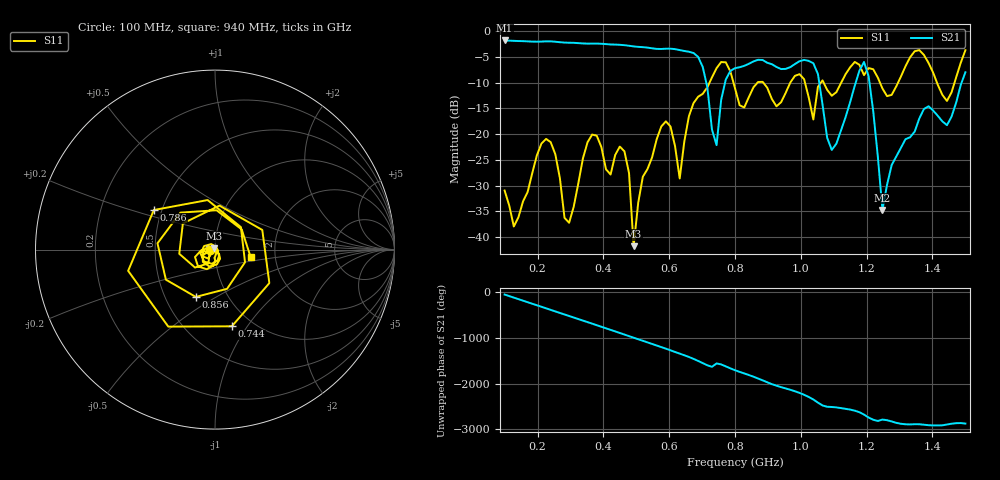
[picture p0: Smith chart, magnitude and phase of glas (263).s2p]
! NanoVNA-App
! Date: 2025-09-25 15:57:31
! Start: 100MHz Stop: 1,5GHz Points: 101
! S-Parameter data: F S11 S21 S12 S22
# Hz S RI R 50
!  Frequency  S11_Real  S11_Imag  S21_Real  S21_Imag  S12_Real  S12_Imag  S22_Real  S22_Imag
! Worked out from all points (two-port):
!   101 points, 100 MHz to 1.5 GHz, reference 50 ohm
!   highest |S21| = -1.80 dB at 100 MHz (marker M1); lowest = -34.7 dB at 1.248 GHz (marker M2)
!   |S21| within 3 dB of the highest: start of sweep to 684.4 MHz
!   lowest |S11| = -41.8 dB at 492 MHz (marker M3), VSWR 1.02, Z = 49.5 + j0.638 ohm
!   |S11| at or under -10 dB: start of sweep to 722.5 MHz; 795.3 MHz to 868.3 MHz (72.99 MHz wide, 8.77 % of centre); 886 MHz to 967.8 MHz (81.81 MHz wide, 8.83 % of centre) (the widest 3 of 7)
!   S12 and S22 are empty: the file has one direction only
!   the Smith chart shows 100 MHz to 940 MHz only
!   S11 on the Smith chart (normalised r, x): 100 MHz: 0.95, -0.01; 744 MHz: 0.81, -0.85; 786 MHz: 0.45, +0.24; 856 MHz: 0.71, -0.41; 940 MHz: 1.49, -0.14
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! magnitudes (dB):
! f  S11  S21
! 100 MHz  -30.9  -1.8
! 128 MHz  -37.9  -1.9
! 226 MHz  -20.9  -2.0
! 296 MHz  -37.2  -2.2
! 338 MHz  -24.7  -2.4
! 464 MHz  -23.3  -2.7
! 492 MHz  -41.8  -3.0
! 576 MHz  -18.5  -3.5
! 632 MHz  -28.6  -3.7
! 702 MHz  -12.2  -7.0
! 744 MHz  -7.2  -22.1
! 786 MHz  -7.8  -7.7
! 800 MHz  -11.1  -7.2
! 856 MHz  -10.9  -5.9
! 940 MHz  -13.8  -7.4
! 1.038 GHz  -17.2  -6.2
! 1.094 GHz  -12.5  -23.1
! 1.192 GHz  -8.5  -6.0
! 1.248 GHz  -11.1  -34.7
! 1.276 GHz  -12.4  -26.0
! 1.444 GHz  -13.5  -18.3
! 1.5 GHz  -3.7  -8.0
